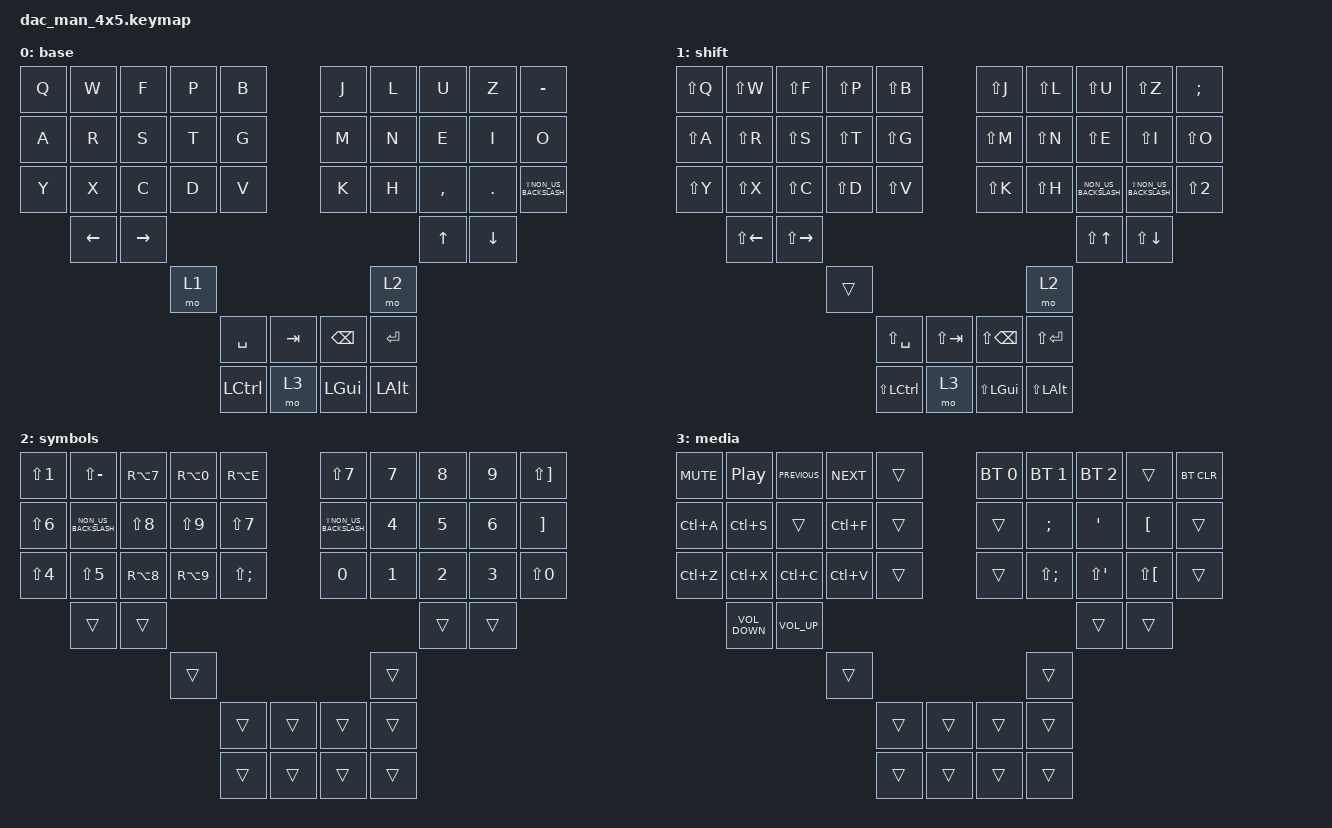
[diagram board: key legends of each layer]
#include <behaviors.dtsi>
#include <dt-bindings/zmk/bt.h>
#include <dt-bindings/zmk/keys.h>

#define DEFAULT 0

/ {
    keymap {
        compatible = "zmk,keymap";

        base {
            bindings = <
&kp Q  &kp W           &kp F            &kp P  &kp B                             &kp J         &kp L  &kp U         &kp Z           &kp MINUS
&kp A  &kp R           &kp S            &kp T  &kp G                             &kp M         &kp N  &kp E         &kp I           &kp O
&kp Y  &kp X           &kp C            &kp D  &kp V                             &kp K         &kp H  &kp COMMA     &kp DOT         &kp LS(NON_US_BACKSLASH)
       &kp LEFT_ARROW  &kp RIGHT_ARROW                                                                &kp UP_ARROW  &kp DOWN_ARROW
                                        &mo 1                                                  &mo 2
                                               &kp SPACE  &kp TAB  &kp BSPC      &kp ENTER
                                               &kp LCTRL  &mo 3    &kp LEFT_GUI  &kp LEFT_ALT
            >;
        };

        shift {
            bindings = <
&kp LS(Q)  &kp LS(W)     &kp LS(F)      &kp LS(P)  &kp LS(B)                                     &kp LS(J)         &kp LS(L)  &kp LS(U)             &kp LS(Z)                 &kp SEMICOLON
&kp LS(A)  &kp LS(R)     &kp LS(S)      &kp LS(T)  &kp LS(G)                                     &kp LS(M)         &kp LS(N)  &kp LS(E)             &kp LS(I)                 &kp LS(O)
&kp LS(Y)  &kp LS(X)     &kp LS(C)      &kp LS(D)  &kp LS(V)                                     &kp LS(K)         &kp LS(H)  &kp NON_US_BACKSLASH  &kp LS(NON_US_BACKSLASH)  &kp LS(N2)
           &kp LS(LEFT)  &kp LS(RIGHT)                                                                                        &kp LS(UP_ARROW)      &kp LS(DOWN)
                                        &trans                                                                     &mo 2
                                                   &kp LS(SPACE)  &kp LS(TAB)  &kp LS(BSPC)      &kp LS(ENTER)
                                                   &kp LS(LCTRL)  &mo 3        &kp LS(LEFT_GUI)  &kp LS(LEFT_ALT)
            >;
        };

        symbols {
            bindings = <
&kp LS(N1)        &kp LS(MINUS)         &kp RA(N7)  &kp RA(N0)  &kp RA(E)                          &kp LS(N7)                &kp N7  &kp N8  &kp N9        &kp LS(RIGHT_BRACKET)
&kp LS(NUMBER_6)  &kp NON_US_BACKSLASH  &kp LS(N8)  &kp LS(N9)  &kp LS(N7)                         &kp LS(NON_US_BACKSLASH)  &kp N4  &kp N5  &kp NUMBER_6  &kp RIGHT_BRACKET
&kp LS(N4)        &kp LS(N5)            &kp RA(N8)  &kp RA(N9)  &kp LS(SEMICOLON)                  &kp N0                    &kp N1  &kp N2  &kp N3        &kp LS(N0)
                  &trans                &trans                                                                                       &trans  &trans
                                                    &trans                                                                   &trans
                                                                &trans             &trans  &trans  &trans
                                                                &trans             &trans  &trans  &trans
            >;
        };

        media {
            bindings = <
&kp K_MUTE  &kp C_PLAY_PAUSE   &kp C_PREVIOUS   &kp C_NEXT  &trans                  &bt BT_SEL 0  &bt BT_SEL 1  &bt BT_SEL 2          &trans                &bt BT_CLR
&kp LC(A)   &kp LC(S)          &trans           &kp LC(F)   &trans                  &trans        &kp SEMI      &kp SINGLE_QUOTE      &kp LEFT_BRACKET      &trans
&kp LC(Z)   &kp LC(X)          &kp LC(C)        &kp LC(V)   &trans                  &trans        &kp LS(SEMI)  &kp LS(SINGLE_QUOTE)  &kp LS(LEFT_BRACKET)  &trans
            &kp C_VOLUME_DOWN  &kp C_VOLUME_UP                                                                  &trans                &trans
                                                &trans                                            &trans
                                                            &trans  &trans  &trans  &trans
                                                            &trans  &trans  &trans  &trans
            >;
        };
    };
};
